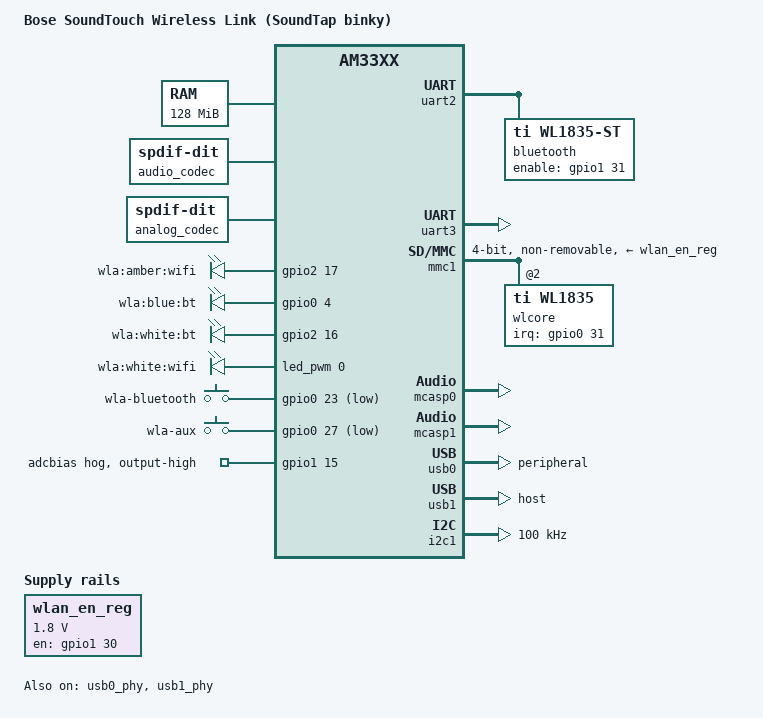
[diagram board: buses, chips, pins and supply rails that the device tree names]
// SPDX-License-Identifier: GPL-2.0-only
// SPDX-FileCopyrightText: 2026 SoundTap contributors
/dts-v1/;

#include "am33xx.dtsi"
#include <dt-bindings/gpio/gpio.h>
#include <dt-bindings/input/linux-event-codes.h>
#include <dt-bindings/interrupt-controller/irq.h>
#include <dt-bindings/pinctrl/am33xx.h>
#include "am335x-soundtap-ramoops.dtsi"
#define SOUNDTAP_NAND_SLOT_RW soundtap,writable
/* One entry in the U-Boot environment decides which slot boots, so firmware that
 * installs into the other slot has to be able to write it. */
#define SOUNDTAP_NAND_ENV_RW soundtap,writable
/*
 * Persistent storage, and it belongs here rather than in a sed in build-nand.sh.
 *
 * This tree is compiled by both legs: the Wireless Link's own, and the ST10's, because the
 * shared root filesystem carries binky_sm2.dtb for the speaker that boots it. The build
 * script only opens these partitions on the Wireless Link leg, so the copy that actually
 * ships -- the one in the rootfs -- had this partition read-only. UBI then attaches read
 * only, UBIFS refuses to mount read-write, and the boot script puts an 8 MiB tmpfs over
 * /mnt/nv: wifi credentials, the Dropbear host key, presets and the Spotify login all gone
 * on every power cycle. Measured on the speaker on 2026-09-22, where it looked like a
 * missing wifi driver and was a read-only partition.
 *
 * The boot chain is here for the same reason: the running firmware is what installs the
 * next package, and a package with bootloaders needs those partitions open.
 */
#define SOUNDTAP_NAND_PERSISTENT_RW soundtap,writable
#define SOUNDTAP_NAND_BOOT_RW soundtap,writable
#include "am335x-soundtap-nand.dtsi"

/ {
	model = "Bose SoundTouch Wireless Link (SoundTap binky)";
	compatible = "bose,binky-sm2", "ti,am33xx";

	aliases {
		serial3 = &uart3;
	};

	chosen {
		stdout-path = "serial3:115200n8";
		/* The second ubi.mtd= attaches the persistent volume as ubi1, which etc/init.d/soundtap
		 * mounts on /mnt/nv. Without it that mount fails and the init falls back to a volatile
		 * 8 MiB tmpfs, so wifi.conf and every other setting is gone on the next boot. The rootfs
		 * cannot attach it itself: the Buildroot profile ships no mtd-utils, and BusyBox's
		 * ubiattach prints -O in its usage and then rejects it -- without the 2048-byte VID
		 * header offset UBI_IOCATT answers EINVAL. Named, not numbered, so a renumbered
		 * partition table cannot silently point it at the wrong flash. */
		bootargs = "console=ttyGS0,115200n8 root=ubi0:rootfs ro rootfstype=ubifs ubi.mtd=9,2048 rootwait init=/init mem=128M cma=8M panic=10 omap_wdt.early_enable=1 variant=binky module_type=sm2 country=GB region=GB soundtap.nandroot=1 ubi.mtd=NAND.Persistent-Storage,2048";
	};

	/*
	 * 128 MiB, not 256. U-Boot's get_ram_size() measures 0x08000000 on this board and
	 * the stock Bose U-Boot passes mem=128M. Claiming 256 MiB made the upper half alias
	 * onto the lower, and userspace corrupted itself a few minutes in -- soundtapd died
	 * with a Go stack full of ASCII and "panic during panic".
	 */
	memory@80000000 {
		device_type = "memory";
		reg = <0x80000000 0x08000000>;
	};

	audio_codec: audio-codec {
		compatible = "linux,spdif-dit";
		#sound-dai-cells = <0>;
	};

	analog_codec: audio-codec-analog {
		compatible = "linux,spdif-dit";
		#sound-dai-cells = <0>;
	};

	/*
	 * The analog link, and the first card on purpose: the only audio connector
	 * on this box is a 3.5 mm pair, aux in and aux out, so this is the output
	 * that actually reaches a speaker. soundtapd plays to plughw:0,0.
	 *
	 * mcasp0 is full duplex here -- serializer 1 transmits to the DAC, serializer
	 * 0 receives from the ADC -- which is the aux input. Bose drives it the same
	 * way: one clock master at 46875 Hz, from AUXCLK 24 MHz halved to AHCLKX and
	 * quartered to a 3 MHz bit clock over two 32-bit slots.
	 */
	sound_analog: sound-analog {
		compatible = "bose,soundtap-mcasp-audio";
		model = "SoundTap";
		pinctrl-names = "default";
		pinctrl-0 = <&audio_control_pins>;
		audio-cpu = <&mcasp0>;
		audio-codec = <&analog_codec>;
	};

	/*
	 * S/PDIF on the same jack. The out connector is dual mode -- Bose senses
	 * which kind of plug is in it on two GPIOs and switches its driver between
	 * ANALOG and SPDIF -- so this is the path an optical cable takes.
	 */
	sound {
		compatible = "bose,soundtap-mcasp-spdif";
		model = "SoundTapSPDIF";
		audio-cpu = <&mcasp1>;
		audio-codec = <&audio_codec>;
	};

	/*
	 * The two lamps on the front. Bose's shelbyleds node names four channels --
	 * uledw, uledy, rled6, rled3 -- and BoseApp's own CLI (`binkyled blink 0-63
	 * [amber,white,blue] [wifi or bt]`) pairs them into a white/amber Wi-Fi lamp
	 * and a white/blue Bluetooth one. Only the Wi-Fi white channel is a PWM, which
	 * is why it is the only one stock ever gives an intensity to.
	 * docs/hardware/wla/led-behaviour.md has the timings and the evidence.
	 *
	 * Which of gpio2_16 and gpio0_4 is the blue one is the single thing not read
	 * out of the binary; it needs one look at a lit speaker. They are labelled the
	 * way BoseApp constructs them, and swapping the two labels is the whole fix if
	 * that turns out backwards.
	 */
	leds {
		compatible = "gpio-leds";
		pinctrl-names = "default";
		pinctrl-0 = <&led_pins>;

		led-wifi-amber {
			label = "wla:amber:wifi";
			gpios = <&gpio2 17 GPIO_ACTIVE_HIGH>;
			default-state = "off";
		};

		led-bt-blue {
			label = "wla:blue:bt";
			gpios = <&gpio0 4 GPIO_ACTIVE_HIGH>;
			default-state = "off";
		};

		led-bt-white {
			label = "wla:white:bt";
			gpios = <&gpio2 16 GPIO_ACTIVE_HIGH>;
			default-state = "off";
		};
	};

	led-controller {
		compatible = "pwm-leds";

		led-wifi-white {
			label = "wla:white:wifi";
			/*
			 * 41667 ns is 24 kHz, which is stock's rate arrived at the long way:
			 * shelby-led.ko calls omap_dm_timer_set_source(timer, 0) for the
			 * 24 MHz system clock, set_prescaler(255) to disable the divider, and
			 * set_load(-1000), so the period is 1000 ticks of 24 MHz.
			 *
			 * The same driver decides the scale: led_write compares the intensity
			 * byte against 100 and programs a match of -(intensity * 10) against
			 * that -1000 load, so duty is intensity/100 and anything above 100 is
			 * clamped. max-brightness is 100 for that reason, and BoseApp's own
			 * numbers go straight through. BoseApp's CLI help says "0-63"; the
			 * driver it talks to says otherwise, and the driver is what runs.
			 */
			pwms = <&led_pwm 0 41667 0>;
			max-brightness = <100>;
			default-state = "off";
		};
	};

	/*
	 * timer4 in PWM mode on xdma_event_intr0, which is where Bose puts it:
	 * their timer@48044000 carries ti,timer-pwm and timer4_pins_default is
	 * <0x1b0 0x02>, that pad in mux mode 2.
	 */
	led_pwm: pwm-led {
		compatible = "ti,omap-dmtimer-pwm";
		ti,timers = <&timer4>;
		pinctrl-names = "default";
		pinctrl-0 = <&led_pwm_pins>;
		#pwm-cells = <3>;
	};

	/*
	 * The two buttons. Stock disables the shelby_keypad node the ST10 uses and
	 * declares its own with `switchins = <23 27>` -- gpio0_23 and gpio0_27, on
	 * gpmc_ad9 and gpmc_ad11, which this board's 8-bit NAND leaves free. No
	 * strobes and no matrix: two lines with pull-ups, low when pressed.
	 *
	 * gpio-keys-POLLED, deliberately. These are bank 0 lines and bank 0 also
	 * carries the WL1835's interrupt on gpio0_31; every earlier attempt to drive
	 * the ST10's keypad from the kernel asked for GPIO interrupts on lines like
	 * these and stopped Wi-Fi from coming up. Stock polls too -- its `interrupts`
	 * property only marks the lines as wake sources. See keypad_gpio.go and
	 * docs/hardware/wla/buttons.md.
	 *
	 * Which button is which comes out of binky-keypad.ko's own debounce thread,
	 * which hard-codes it rather than numbering by position:
	 *
	 *     cmp r3            @ the row the interrupt reported
	 *     moveq r4         @ row 0 (gpio0_23) -> button 13 -> 'n' -> BLUETOOTH
	 *     movne r4         @ row 3 (gpio0_27) -> button 12 -> 'm' -> AUX_INPUT
	 *
	 * and BoseApp's shared console table turns 13 and 12 into KEY_VAL_BLUETOOTH and
	 * KEY_VAL_AUX_INPUT. docs/hardware/wla/buttons.md has both halves.
	 */
	buttons {
		compatible = "gpio-keys-polled";
		poll-interval = <30>;
		pinctrl-names = "default";
		pinctrl-0 = <&button_pins>;

		button-bluetooth {
			label = "wla-bluetooth";
			linux,code = <KEY_BLUETOOTH>;
			gpios = <&gpio0 23 GPIO_ACTIVE_LOW>;
		};

		button-aux {
			label = "wla-aux";
			linux,code = <KEY_AUX>;
			gpios = <&gpio0 27 GPIO_ACTIVE_LOW>;
		};
	};

	wlan_en_reg: regulator-wlan {
		compatible = "regulator-fixed";
		regulator-name = "wlan-en-regulator";
		regulator-min-microvolt = <1800000>;
		regulator-max-microvolt = <1800000>;
		gpio = <&gpio1 30 GPIO_ACTIVE_HIGH>;
		startup-delay-us = <70000>;
		enable-active-high;
	};
};

&am33xx_pinmux {
	uart3_pins: pinmux-uart3-pins {
		pinctrl-single,pins = <
			AM33XX_PADCONF(AM335X_PIN_MII1_RXD2, PIN_OUTPUT_PULLDOWN, MUX_MODE1)
			AM33XX_PADCONF(AM335X_PIN_SPI0_CS1, PIN_INPUT_PULLUP, MUX_MODE1)
		>;
	};

	mmc1_pins: pinmux-mmc1-pins {
		pinctrl-single,pins = <
			AM33XX_PADCONF(AM335X_PIN_MMC0_DAT3, PIN_INPUT_PULLUP, MUX_MODE0)
			AM33XX_PADCONF(AM335X_PIN_MMC0_DAT2, PIN_INPUT_PULLUP, MUX_MODE0)
			AM33XX_PADCONF(AM335X_PIN_MMC0_DAT1, PIN_INPUT_PULLUP, MUX_MODE0)
			AM33XX_PADCONF(AM335X_PIN_MMC0_DAT0, PIN_INPUT_PULLUP, MUX_MODE0)
			AM33XX_PADCONF(AM335X_PIN_MMC0_CLK, PIN_INPUT_PULLUP, MUX_MODE0)
			AM33XX_PADCONF(AM335X_PIN_MMC0_CMD, PIN_INPUT_PULLUP, MUX_MODE0)
		>;
	};

	wlan_pins: pinmux-wlan-pins {
		pinctrl-single,pins = <
			AM33XX_PADCONF(AM335X_PIN_GPMC_CSN1, PIN_OUTPUT_PULLDOWN, MUX_MODE7)
			AM33XX_PADCONF(AM335X_PIN_GPMC_WPN, PIN_INPUT, MUX_MODE7)
		>;
	};

	/* The WL1835 that already carries our Wi-Fi has its Bluetooth on the other side of
	 * the chip: a four-wire UART with hardware flow control. Bose's own binky_sm2.dtb
	 * wires it exactly this way -- uart2_pins_default claims spi0_sclk/spi0_d0 for rx/tx
	 * and i2c0_sda/i2c0_scl for cts/rts, and I2C0 is disabled on this variant so nothing
	 * else wants those two pads. Flow control is not optional at 3 Mbaud.
	 *
	 * Verified on 2026-09-17 against the vendor kernel running on this board, rather than
	 * read out of their device tree source: pinmux-pins showed 48024000.serial claiming
	 * pins 84, 85, 98 and 99 -- exactly these four pads -- and the pad registers read
	 *
	 *   pin 84 spi0_sclk  0x31    pin 98 i2c0_sda  0x32
	 *   pin 85 spi0_d0    0x01    pin 99 i2c0_scl  0x02
	 *
	 * The two inputs match what is written here. The two outputs did not: we set
	 * PIN_OUTPUT, which is bit 3, pull disabled, giving 0x09 and 0x0a where the vendor
	 * leaves the pulldown enabled at 0x01 and 0x02. That is almost certainly harmless on
	 * a driven output, but this radio answers its version read with -110 and a pad
	 * setting that differs from a configuration known to work is not the place to keep a
	 * difference nobody chose. PIN_OUTPUT_PULLDOWN reproduces the vendor's value exactly.
	 * Changing it is alignment, not a fix: it has not been shown to move the timeout. */
	uart2_pins: pinmux-uart2-pins {
		pinctrl-single,pins = <
			AM33XX_PADCONF(AM335X_PIN_SPI0_SCLK, PIN_INPUT_PULLUP, MUX_MODE1) /* uart2_rxd */
			AM33XX_PADCONF(AM335X_PIN_SPI0_D0, PIN_OUTPUT_PULLDOWN, MUX_MODE1) /* uart2_txd */
			AM33XX_PADCONF(AM335X_PIN_I2C0_SDA, PIN_INPUT_PULLUP, MUX_MODE2) /* uart2_ctsn */
			AM33XX_PADCONF(AM335X_PIN_I2C0_SCL, PIN_OUTPUT_PULLDOWN, MUX_MODE2) /* uart2_rtsn */
		>;
	};

	/* Bose names this line bt_enable and drives it from userspace through its gpiodev
	 * shim: gpionum 63, output, initial 0. gpio1_31 is the GPMC_CSN2 pad. Here the
	 * serdev driver owns it, so it is powered up and down with the HCI device.
	 *
	 * Checked against the running vendor kernel on 2026-09-17: pin 33 reads 0x07, which
	 * is what PIN_OUTPUT_PULLDOWN with MUX_MODE7 produces, and /sys/kernel/debug/gpio
	 * showed "gpio-63 (bt_enable) out hi" on a board whose Bluetooth works. This pad is
	 * not the difference. */
	/*
	 * I2C1 and the regulator that feeds the analog output. Read straight out of
	 * Bose's own device tree: i2c@4802a000 status okay, pinctrl on the pads at
	 * 0x980/0x984 with value 0x6b, an "onsemi,ncp6922" at address 0x18 carrying
	 * dcdc1, dcdc2, ldo3 and ldo4, and a separate ncp6922_pins_default that claims
	 * lcd_hsync as a GPIO output -- the chip's enable line.
	 *
	 * 0x980/0x984 are uart1_rxd and uart1_txd, whose mode 3 is i2c1_sda/i2c1_scl
	 * (not mcasp0_axr0/axr1, which have no I2C1 function in mode 3). The SoundTouch
	 * 300's stock tree carries the same <0x180 0x6b 0x184 0x6b>. Nothing here talks to
	 * the ncp6922 yet.
	 */
	i2c1_pins: pinmux-i2c1-pins {
		pinctrl-single,pins = <
			AM33XX_PADCONF(AM335X_PIN_UART1_RXD, PIN_INPUT | SLEWCTRL_SLOW, MUX_MODE3) /* i2c1_sda */
			AM33XX_PADCONF(AM335X_PIN_UART1_TXD, PIN_INPUT | SLEWCTRL_SLOW, MUX_MODE3) /* i2c1_scl */
		>;
	};

	ncp6922_pins: pinmux-ncp6922-pins {
		pinctrl-single,pins = <
			AM33XX_PADCONF(AM335X_PIN_LCD_HSYNC, PIN_OUTPUT, MUX_MODE7) /* ncp6922 enable */
		>;
	};

	bt_pins: pinmux-bt-pins {
		pinctrl-single,pins = <
			AM33XX_PADCONF(AM335X_PIN_GPMC_CSN2, PIN_OUTPUT_PULLDOWN, MUX_MODE7)
		>;
	};

	/*
	 * Seven of the eight pads Bose gives mcasp0, decoded from the AM335x pin table:
	 * lcd_data12/13 are aclkr/fsr, lcd_data14 is axr1, lcd_data15 is ahclkx, and
	 * the three MII pads are aclkx, fsx and axr0. The eighth, mii1_col, is
	 * mcasp0_axr2 in mode 6 -- deliberately left out. Bose muxes it and then
	 * immediately re-muxes it as mcasp1_axr2, which is what it ends up as and what
	 * mcasp1_pins below claims; serial-dir leaves mcasp0's serializer 2 inactive,
	 * so nothing wants it. Two pinctrl nodes claiming one pad is a failed request.
	 */
	mcasp0_pins: pinmux-mcasp0-pins {
		pinctrl-single,pins = <
			AM33XX_PADCONF(AM335X_PIN_LCD_DATA12, PIN_INPUT_PULLDOWN, MUX_MODE3) /* mcasp0_aclkr */
			AM33XX_PADCONF(AM335X_PIN_LCD_DATA13, PIN_INPUT_PULLDOWN, MUX_MODE3) /* mcasp0_fsr */
			AM33XX_PADCONF(AM335X_PIN_LCD_DATA14, PIN_INPUT_PULLDOWN, MUX_MODE3) /* mcasp0_axr1 */
			/*
			 * The vendor's values, 0x0b and 0x0e. These three carried the pad's input
			 * buffer for one day, so PDIN could be sampled to find out whether the clocks
			 * physically leave the SoC -- AXR1 can be read because its pad happens to
			 * carry RXACTIVE, these cannot, and the control module refuses pad writes at
			 * runtime, so the only way to look was to build it in.
			 *
			 * The answer, measured with a stream provably flowing: ACLKX toggles, AFSX
			 * toggles, AXR1 toggles, AHCLKX stays put (which is correct -- the vendor
			 * leaves that pin undriven and ti,ahclkx-not-driven now does too). Nothing on
			 * this side of the connector was missing, and the silence turned out to be
			 * the amplifier standby line, never driven because init.d/soundtap was writing
			 * Bose's flat GPIO numbers to paths that do not exist. See
			 * docs/hardware/wla/bluetooth-and-analog-output.md.
			 *
			 * So back to the vendor's values. A pad that differs from theirs for no
			 * reason anyone remembers is exactly the kind of thing that costs a day.
			 */
			AM33XX_PADCONF(AM335X_PIN_LCD_DATA15, PIN_OUTPUT, MUX_MODE3) /* mcasp0_ahclkx */
			AM33XX_PADCONF(AM335X_PIN_MII1_TX_CLK, PIN_OUTPUT, MUX_MODE6) /* mcasp0_aclkx */
			AM33XX_PADCONF(AM335X_PIN_MII1_RX_CLK, PIN_OUTPUT, MUX_MODE6) /* mcasp0_fsx */
			AM33XX_PADCONF(AM335X_PIN_MII1_RXD3, PIN_INPUT_PULLDOWN, MUX_MODE6) /* mcasp0_axr0 */
		>;
	};

	/*
	 * Bose's gpiodev table for this variant, by the same numbers: mute_out 72,
	 * dac_adc_reset 74, ampstby 75, dsp_reset 86, ampfault 88.
	 */
	audio_control_pins: pinmux-audio-control-pins {
		pinctrl-single,pins = <
			AM33XX_PADCONF(AM335X_PIN_LCD_DATA2, PIN_OUTPUT_PULLDOWN, MUX_MODE7) /* mute_out */
			AM33XX_PADCONF(AM335X_PIN_LCD_DATA4, PIN_OUTPUT_PULLDOWN, MUX_MODE7) /* dac_adc_reset */
			AM33XX_PADCONF(AM335X_PIN_LCD_DATA5, PIN_OUTPUT_PULLDOWN, MUX_MODE7) /* ampstby */
			AM33XX_PADCONF(AM335X_PIN_LCD_VSYNC, PIN_OUTPUT_PULLDOWN, MUX_MODE7) /* dsp_reset */
			AM33XX_PADCONF(AM335X_PIN_LCD_PCLK, PIN_INPUT_PULLUP, MUX_MODE7) /* ampfault */
			/*
			 * The analog bias. Bose's device tree hangs it off their tscadc node as
			 * "adcbias_gpio" and claims exactly this pad for it -- tscadc_pins_default
			 * is <0x3c 0x07>, which is gpmc_ad15 in mode 7. This tree had never named
			 * the pad and never drove the line, and on the running board it sat as an
			 * input reading 0. The NAND here is 8 bit and uses ad0..ad7, so ad15 is free.
			 */
			AM33XX_PADCONF(AM335X_PIN_GPMC_AD15, PIN_OUTPUT_PULLDOWN, MUX_MODE7) /* adcbias */
			/*
			 * The two lines that say what kind of plug is in the output jack.
			 * Bose calls them binky_output_select_1 (gpio2_1, Linux 545) and
			 * binky_output_select_2 (gpio2_25, Linux 569), and claims these exact
			 * pads for them in gpiodev_binky_default, <0x8c 0x27 0xec 0x27>.
			 *
			 * /opt/Bose/BinkyOutputMonitor is eleven instructions of logic: poll
			 * both once a second, and when the two agree and the agreed value has
			 * changed, write that same ASCII digit to
			 * /sys/class/sound/snd_shelby/outputMode. Disagreement means a plug
			 * half in, and it writes nothing.
			 *
			 * Pull-DOWN, which is what stock's 0x27 actually decodes to. An earlier
			 * version of this had them pulled up, and the board then read 0 and 1 --
			 * a disagreement stock's monitor treats as a plug half-way in, so it
			 * would never have switched at all. Measured on the board on 2026-09-19.
			 *
			 * Nothing reads them here yet -- they are muxed so that they can be,
			 * because until now the pads sat in whatever mode the bootloader left
			 * and an optical cable in that jack was undetectable.
			 */
			AM33XX_PADCONF(AM335X_PIN_GPMC_CLK, PIN_INPUT_PULLDOWN, MUX_MODE7) /* output_select_1 */
			AM33XX_PADCONF(AM335X_PIN_LCD_AC_BIAS_EN, PIN_INPUT_PULLDOWN, MUX_MODE7) /* output_select_2 */
		>;
	};

	/*
	 * Bose splits these across two nodes -- led_pins_default <0xcc 0x07> for the
	 * amber and led_binky_default <0x158 0x0f 0xc8 0x0f> for the other two -- and
	 * keeps the pulldown on the amber pad only. Same pads, same modes, same pulls.
	 */
	led_pins: pinmux-led-pins {
		pinctrl-single,pins = <
			AM33XX_PADCONF(AM335X_PIN_LCD_DATA11, PIN_OUTPUT_PULLDOWN, MUX_MODE7) /* uledy, amber */
			AM33XX_PADCONF(AM335X_PIN_LCD_DATA10, PIN_OUTPUT, MUX_MODE7) /* rled6 */
			AM33XX_PADCONF(AM335X_PIN_SPI0_D1, PIN_OUTPUT, MUX_MODE7) /* rled3 */
		>;
	};

	led_pwm_pins: pinmux-led-pwm-pins {
		pinctrl-single,pins = <
			AM33XX_PADCONF(AM335X_PIN_XDMA_EVENT_INTR0, PIN_OUTPUT_PULLDOWN, MUX_MODE2) /* uledw, timer4 */
		>;
	};

	/*
	 * Stock's keypad_pins_default, <0x24 0x2f 0x2c 0x2f>: gpmc_ad9 and gpmc_ad11 in
	 * mode 7, input, pull *disabled*. Not a pull-up -- the pull-ups sit on the board
	 * behind these lines, which is the same reason the ST10's switch-ins are muxed
	 * pull-disabled (see keypad_gpio.go). Read back from a running board as 0x2f.
	 */
	button_pins: pinmux-button-pins {
		pinctrl-single,pins = <
			AM33XX_PADCONF(AM335X_PIN_GPMC_AD9, PIN_INPUT, MUX_MODE7) /* switch-in 23 */
			AM33XX_PADCONF(AM335X_PIN_GPMC_AD11, PIN_INPUT, MUX_MODE7) /* switch-in 27 */
		>;
	};

	mcasp1_pins: pinmux-mcasp1-pins {
		pinctrl-single,pins = <
			AM33XX_PADCONF(AM335X_PIN_MII1_COL, PIN_OUTPUT_PULLDOWN, MUX_MODE4) /* mcasp1_axr2 */
			/*
			 * mcasp1_ahclkx, not aclkx -- mode 6 on this pad is the high-frequency
			 * clock input, and it is an input: Bose leaves AHCLKXCTL at 0, so the
			 * clock is an oscillator on the board. 11.2896 MHz, halved to a
			 * 5.6448 MHz bit clock, which is 128 x 44100 for biphase-mark S/PDIF.
			 */
			AM33XX_PADCONF(AM335X_PIN_RMII1_REF_CLK, PIN_INPUT_PULLDOWN, MUX_MODE6) /* mcasp1_ahclkx */
		>;
	};
};

&uart2 {
	pinctrl-names = "default";
	pinctrl-0 = <&uart2_pins>;
	status = "okay";

	/*
	 * No EDMA on this port. am33xx-l4.dtsi gives every UART a tx/rx EDMA pair, and
	 * 8250_omap turns RX DMA on whenever "dmas" is present. With DMA on, this port
	 * delivers the radio's answers late and more than once: a capture of the HCI
	 * monitor on 2026-09-18 showed one Read Local Version reply handed to the stack
	 * four times in 4 ms, and the command complete for 0xfe37 -- the command that had
	 * "timed out" a minute earlier -- arriving in the middle of that burst. The bytes
	 * are on the wire and correct; they reach the driver at the wrong time, which is
	 * what makes every __hci_cmd_sync give up at its 10 s timeout. Polled RX has no
	 * such buffer to go stale, and this UART carries at most a few kB of init script.
	 */
	/delete-property/ dmas;
	/delete-property/ dma-names;

	bluetooth {
		compatible = "ti,wl1835-st";
		enable-gpios = <&gpio1 31 GPIO_ACTIVE_HIGH>;
		pinctrl-names = "default";
		pinctrl-0 = <&bt_pins>;
		/*
		 * 3 Mbaud, the vendor's own rate: at 1.5 Mbaud the same command times out at
		 * the same point, so the line rate is not what is wrong.
		 *
		 * Where it actually stops, from the script itself (action 1 of 568 is the
		 * baud-rate command the driver deliberately ignores, action 2 is this one):
		 *
		 *   [12.496] Bluetooth: hci0: change remote baud rate command in firmware
		 *   [14.562] Bluetooth: hci0: command 0xfe37 tx timeout
		 *
		 * So the chip answers the version read, the script is found and parsed, and
		 * then the second vendor command of it gets no reply. CTS is asserted --
		 * ll_setup would have said "Failed to get CTS" otherwise -- so the next
		 * suspect is what that command does, not whether the wires work.
		 */
		max-speed = <3000000>;
	};
};

&uart3 {
	pinctrl-names = "default";
	pinctrl-0 = <&uart3_pins>;
	status = "okay";
};

&mmc1 {
	/* External EDMA corrupts RAM under sustained wl18xx RX on this board. */
	/delete-property/ dmas;
	/delete-property/ dma-names;
	/* Internal SDHCI DMA times out during wl18xx firmware writes; use PIO. */
	sdhci-caps-mask = <0 0x00580000>;
	pinctrl-names = "default";
	pinctrl-0 = <&mmc1_pins &wlan_pins>;
	vmmc-supply = <&wlan_en_reg>;
	bus-width = <4>;
	non-removable;
	cap-power-off-card;
	keep-power-in-suspend;
	ti,non-removable;
	ti,needs-special-hs-handling;
	status = "okay";
	#address-cells = <1>;
	#size-cells = <0>;

	wlcore: wifi@2 {
		compatible = "ti,wl1835";
		reg = <2>;
		interrupt-parent = <&gpio0>;
		interrupts = <31 IRQ_TYPE_EDGE_FALLING>;
	};
};

&mcasp0 {
	#sound-dai-cells = <0>;
	pinctrl-names = "default";
	pinctrl-0 = <&mcasp0_pins>;
	status = "okay";
	op-mode = <0>;
	tdm-slots = <2>;
	/* Serializer 0 receives (aux in), serializer 1 transmits (aux out). */
	serial-dir = <2 1 0 0>;
	/*
	 * Internal high-frequency clock, but the AHCLKX pin stays out of it.
	 * snd-binky.ko writes AHCLKXCTL 0x8001 -- AHCLKXE set, so the clock comes
	 * from AUXCLK -- together with PDIR 0x14000002, which has the AHCLKX bit
	 * clear. Mainline's set_sysclk() cannot express that: every path that picks
	 * AUXCLK also claims the pin, so without this we drive a line the vendor
	 * leaves alone. Read off the running board on 2026-09-18, where our PDIR was
	 * 0x1C000002 against the vendor's 0x14000002.
	 */
	ti,ahclkx-not-driven;
	/*
	 * Without this a clock-provider format marks the receive clock pins as
	 * outputs too, and lcd_data12/lcd_data13 -- mcasp0_aclkr and mcasp0_fsr --
	 * are inputs on this board, exactly as Bose configures them. The ST10 sets
	 * it on the same McASP of the same module for the same reason. Receive
	 * still works: ASYNC is clear, so the receive section runs off the transmit
	 * clock rather than off those pins.
	 */
	ti,tx-clock-only;
	tx-num-evt = <1>;
	rx-num-evt = <1>;
};

&mcasp1 {
	#sound-dai-cells = <0>;
	pinctrl-names = "default";
	pinctrl-0 = <&mcasp1_pins>;
	status = "okay";
	op-mode = <1>;
	tdm-slots = <2>;
	serial-dir = <0 0 1 0>;
	ti,tx-clock-only;
	tx-num-evt = <1>;
};

&usb0 {
	dr_mode = "peripheral";
	status = "okay";
};

&usb0_phy {
	status = "okay";
};

&usb1 {
	dr_mode = "host";
	status = "okay";
};

&usb1_phy {
	status = "okay";
};

/*
 * The supply side of the analog output. Mainline has no ncp6922 driver, so this
 * node only brings the bus up and names what is on it; the rails are switched
 * from userspace over /dev/i2c-* until a driver exists.
 */
&i2c1 {
	pinctrl-names = "default";
	pinctrl-0 = <&i2c1_pins>;
	status = "okay";
	clock-frequency = <100000>;
};

/*
 * Hold the analog bias high. There is no mainline binding for what Bose expresses as
 * adcbias_gpio on their tscadc node, and nothing here needs to read it back, so a hog is
 * the whole of it: the line comes up with the board and stays up.
 */
&gpio1 {
	adcbias-hog {
		gpio-hog;
		gpios = <15 GPIO_ACTIVE_HIGH>;
		output-high;
		line-name = "adcbias";
	};
};
